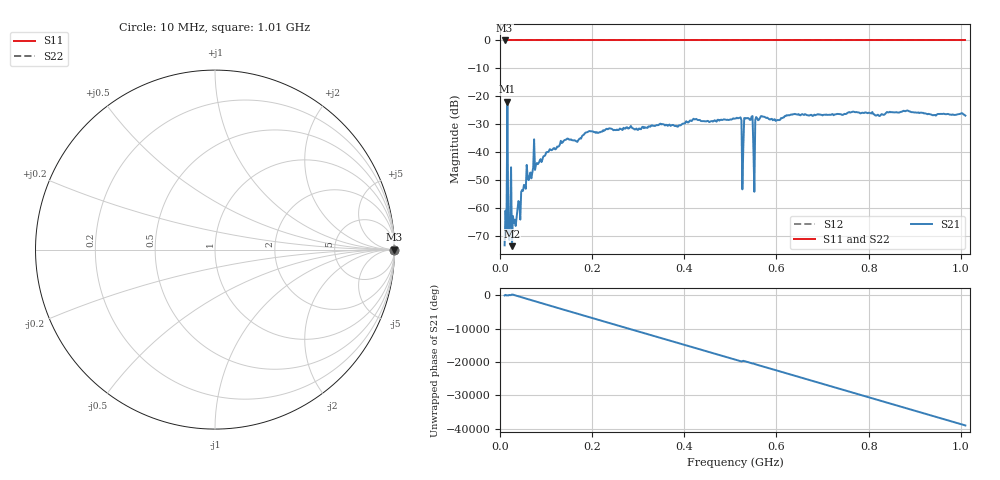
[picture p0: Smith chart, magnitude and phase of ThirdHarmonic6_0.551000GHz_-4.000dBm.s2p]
! 8/15/2025 5:26:10 PM
! C:\ANRITSUVNA\TEMP\TEMP.S2P
! CHANNEL.1
! TR.MEASUREMENT
! RAW.DATA
! RF.CORRECTION.OFF
! AVERAGING.OFF
! IF.BANDWIDTH: 5KHZ
! SWEEPTYPE:  FREQ.SWEEP(Linear)
! Reference Plane Port Info
! PORT:  PORT1  PORT2
! DISTANCE:  0  m  0  m
! TIME:  0  s  0  s
! PHASE.OFFSET:  0  deg.  0  deg.
! LOSS:  0  dB  0  dB
! REF.LOSS:  0  dB  0  dB
! REF.FREQ:  0  Hz  0  Hz
! Power Info
! POWER:  -20  dBm  -20  dBm
! EFF.POWER:  -20  dBm  -20  dBm
! SOURCE.ATTEN:  0  dB  0  dB
! TEST.ATTEN:  0  dB  0  dB
# GHZ S RI R 50.0
! FREQ.GHZ  S11RE  S11IM  S21RE  S21IM  S12RE  S12IM  S22RE  S22IM
!; PortSelection: Port_12
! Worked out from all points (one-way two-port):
!   501 points, 10 MHz to 1.01 GHz, reference 50 ohm
!   highest |S21| = -21.91 dB at 16 MHz (marker M1); lowest = -73.7 dB at 26 MHz (marker M2)
!   lowest |S11| = 0.0 dB at 10 MHz (marker M3)
!   |S11| at or under -10 dB: nowhere
!   |S22| runs from 0.0 to 0.0 dB; largest |S21 - S12| = 1.1
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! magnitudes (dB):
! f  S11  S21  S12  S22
! 10 MHz  0.0  -73.4  0.0  0.0
! 12 MHz  0.0  -61.0  0.0  0.0
! 16 MHz  0.0  -21.9  0.0  0.0
! 20 MHz  0.0  -71.5  0.0  0.0
! 22 MHz  0.0  -64.4  0.0  0.0
! 26 MHz  0.0  -73.7  0.0  0.0
! 30 MHz  0.0  -65.4  0.0  0.0
! 76 MHz  0.0  -46.4  0.0  0.0
! 178 MHz  0.0  -34.3  0.0  0.0
! 344 MHz  0.0  -30.3  0.0  0.0
! 510 MHz  0.0  -28.0  0.0  0.0
! 520 MHz  0.0  -27.7  0.0  0.0
! 528 MHz  0.0  -38.6  0.0  0.0
! 534 MHz  0.0  -27.8  0.0  0.0
! 544 MHz  0.0  -28.5  0.0  0.0
! 548 MHz  0.0  -27.1  0.0  0.0
! 554 MHz  0.0  -28.4  0.0  0.0
! 558 MHz  0.0  -27.9  0.0  0.0
! 568 MHz  0.0  -27.1  0.0  0.0
! 678 MHz  0.0  -27.0  0.0  0.0
! 844 MHz  0.0  -25.8  0.0  0.0
! 1.01 GHz  0.0  -26.9  0.0  0.0
